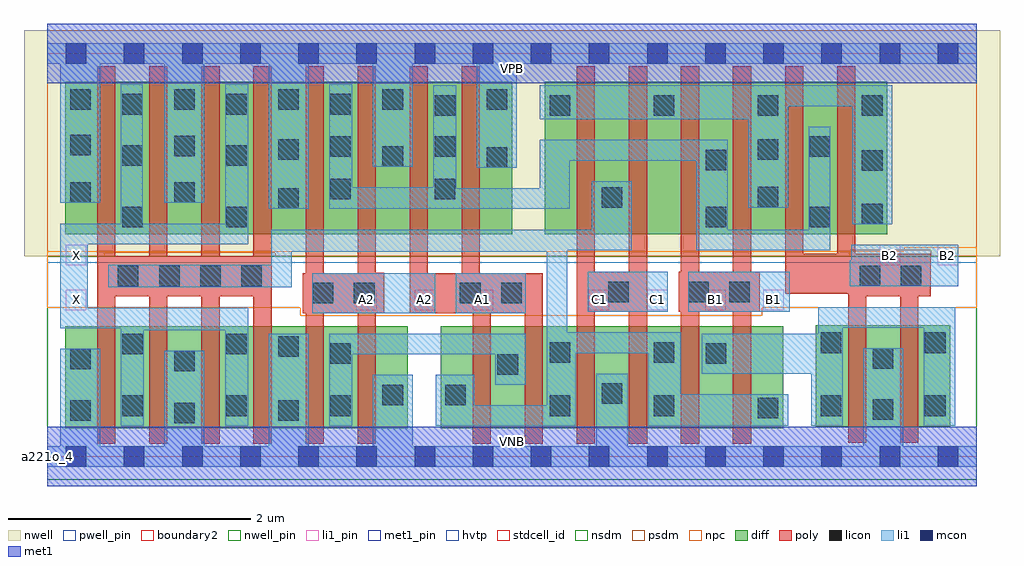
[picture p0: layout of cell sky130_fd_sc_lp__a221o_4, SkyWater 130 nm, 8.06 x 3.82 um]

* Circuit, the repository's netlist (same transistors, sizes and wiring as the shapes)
* Copyright 2020 The SkyWater PDK Authors
*
* Licensed under the Apache License, Version 2.0 (the "License");
* you may not use this file except in compliance with the License.
* You may obtain a copy of the License at
*
*     https://www.apache.org/licenses/LICENSE-2.0
*
* Unless required by applicable law or agreed to in writing, software
* distributed under the License is distributed on an "AS IS" BASIS,
* WITHOUT WARRANTIES OR CONDITIONS OF ANY KIND, either express or implied.
* See the License for the specific language governing permissions and
* limitations under the License.
*
* SPDX-License-Identifier: Apache-2.0

.SUBCKT sky130_fd_sc_lp__a221o_4 A1 A2 B1 B2 C1 VGND VNB VPB VPWR X
*.PININFO A1:I A2:I B1:I B2:I C1:I VGND:I VNB:I VPB:I VPWR:I X:O
MMPA0 pndA A1 VPWR VPB sky130_fd_pr__pfet_01v8_hvt m=2 w=1.26U l=0.15U mult=1 sa=0.265
+ sb=0.265 sd=0.28 area=0.063 perim=1.14
MMPA1 pndA A2 VPWR VPB sky130_fd_pr__pfet_01v8_hvt m=2 w=1.26U l=0.15U mult=1 sa=0.265
+ sb=0.265 sd=0.28 area=0.063 perim=1.14
MMPB0 pndB B1 pndA VPB sky130_fd_pr__pfet_01v8_hvt m=2 w=1.26U l=0.15U mult=1 sa=0.265
+ sb=0.265 sd=0.28 area=0.063 perim=1.14
MMPB1 pndB B2 pndA VPB sky130_fd_pr__pfet_01v8_hvt m=2 w=1.26U l=0.15U mult=1 sa=0.265
+ sb=0.265 sd=0.28 area=0.063 perim=1.14
MMPC0 y C1 pndB VPB sky130_fd_pr__pfet_01v8_hvt m=2 w=1.26U l=0.15U mult=1 sa=0.265
+ sb=0.265 sd=0.28 area=0.063 perim=1.14
MMIPX X y VPWR VPB sky130_fd_pr__pfet_01v8_hvt m=4 w=1.26U l=0.15U mult=1 sa=0.265
+ sb=0.265 sd=0.28 area=0.063 perim=1.14
MMNA0 y A1 sndA1 VNB sky130_fd_pr__nfet_01v8 m=2 w=0.84U l=0.15U mult=1 sa=0.265
+ sb=0.265 sd=0.28 area=0.063 perim=1.14
MMNA1 sndA1 A2 VGND VNB sky130_fd_pr__nfet_01v8 m=2 w=0.84U l=0.15U mult=1 sa=0.265
+ sb=0.265 sd=0.28 area=0.063 perim=1.14
MMNB0 y B1 sndB1 VNB sky130_fd_pr__nfet_01v8 m=2 w=0.84U l=0.15U mult=1 sa=0.265
+ sb=0.265 sd=0.28 area=0.063 perim=1.14
MMNB1 sndB1 B2 VGND VNB sky130_fd_pr__nfet_01v8 m=2 w=0.84U l=0.15U mult=1 sa=0.265
+ sb=0.265 sd=0.28 area=0.063 perim=1.14
MMNC0 y C1 VGND VNB sky130_fd_pr__nfet_01v8 m=2 w=0.84U l=0.15U mult=1 sa=0.265
+ sb=0.265 sd=0.28 area=0.063 perim=1.14
MMINX X y VGND VNB sky130_fd_pr__nfet_01v8 m=4 w=0.84U l=0.15U mult=1 sa=0.265
+ sb=0.265 sd=0.28 area=0.063 perim=1.14
.ENDS sky130_fd_sc_lp__a221o_4

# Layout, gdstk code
import gdstk
lib = gdstk.Library(unit=1e-6, precision=1e-09)
def R(c, l, rs):  # rectangles x0, y0, x1, y1
    for r in rs: c.add(gdstk.rectangle(r[:2], r[2:], *l))
def A(c, l, x, y, w, h, nx, ny, dx, dy):  # array of equal rectangles
    R(c, l, [(x+i*dx, y+j*dy, x+i*dx+w, y+j*dy+h) for i in range(nx) for j in range(ny)])
def P(c, l, *ps):  # polygons
    for p in ps: c.add(gdstk.Polygon(p, *l))
nwell_pin = (64, 16)
nwell = (64, 20)
diff = (65, 20)
poly = (66, 20)
licon = (66, 44)
li1_pin = (67, 16)
li1 = (67, 20)
mcon = (67, 44)
met1_pin = (68, 16)
met1 = (68, 20)
hvtp = (78, 44)
stdcell_id = (81, 4)
nsdm = (93, 44)
psdm = (94, 20)
npc = (95, 20)
pwell_pin = (122, 16)
boundary2 = (236, 0)

sky130_fd_sc_lp__a221o_4 = lib.new_cell('sky130_fd_sc_lp__a221o_4')
R(sky130_fd_sc_lp__a221o_4, nwell_pin, [(0,3.085,7.68,3.33)])
R(sky130_fd_sc_lp__a221o_4, nwell, [(-0.19,1.655,7.87,3.52)])
R(sky130_fd_sc_lp__a221o_4, diff, [(0.15,0.235,2.98,1.075), (3.25,0.235,6.08,1.075), (6.35,0.245,7.46,1.085), (0.15,1.835,3.84,3.095), (4.11,1.835,6.94,3.095)])
P(sky130_fd_sc_lp__a221o_4, poly, [(1.855,3.225),(1.705,3.225),(1.705,1.655),(1.425,1.655),(1.425,3.225),(1.275,3.225),(1.275,1.655),(0.995,1.655),(0.995,3.225),(0.845,3.225),(0.845,1.655),(0.565,1.655),(0.565,3.225),(0.415,3.225),(0.415,0.105),(0.565,0.105),(0.565,1.325),(0.845,1.325),(0.845,0.105),(0.995,0.105),(0.995,1.325),(1.275,1.325),(1.275,0.105),(1.425,0.105),(1.425,1.325),(1.705,1.325),(1.705,0.105),(1.855,0.105)],
  [(5.885,1.525),(5.815,1.525),(5.815,3.225),(5.665,3.225),(5.665,1.525),(5.385,1.525),(5.385,3.225),(5.235,3.225),(5.235,1.525),(5.215,1.525),(5.215,1.195),(5.235,1.195),(5.235,0.105),(5.385,0.105),(5.385,1.195),(5.665,1.195),(5.665,0.105),(5.815,0.105),(5.815,1.195),(5.885,1.195)],
  [(2.785,1.52),(2.715,1.52),(2.715,3.225),(2.565,3.225),(2.565,1.515),(2.285,1.515),(2.285,3.225),(2.135,3.225),(2.135,1.515),(2.11,1.515),(2.11,1.185),(2.135,1.185),(2.135,0.105),(2.285,0.105),(2.285,1.185),(2.565,1.185),(2.565,0.105),(2.715,0.105),(2.715,1.185),(2.785,1.185)],
  [(4.095,1.515),(3.575,1.515),(3.575,3.225),(3.425,3.225),(3.425,1.515),(3.145,1.515),(3.145,3.225),(2.995,3.225),(2.995,1.185),(3.515,1.185),(3.515,0.105),(3.665,0.105),(3.665,1.185),(3.945,1.185),(3.945,0.105),(4.095,0.105)],
  [(4.955,3.225),(4.805,3.225),(4.805,1.525),(4.525,1.525),(4.525,3.225),(4.375,3.225),(4.375,0.105),(4.525,0.105),(4.525,1.195),(4.805,1.195),(4.805,0.105),(4.955,0.105)],
  [(7.3,1.675),(6.675,1.675),(6.675,3.225),(6.525,3.225),(6.525,1.675),(6.245,1.675),(6.245,3.225),(6.095,3.225),(6.095,1.345),(6.615,1.345),(6.615,0.115),(6.765,0.115),(6.765,1.325),(7.045,1.325),(7.045,0.115),(7.195,0.115),(7.195,1.325),(7.3,1.325)])
A(sky130_fd_sc_lp__a221o_4, licon, 0.62, 0.335, 0.17, 0.17, 3, 2, 0.86, 2.49)
A(sky130_fd_sc_lp__a221o_4, licon, 0.585, 1.405, 0.17, 0.17, 4, 1, 0.34, 0)
A(sky130_fd_sc_lp__a221o_4, licon, 4.15, 2.815, 0.17, 0.17, 4, 1, 0.86, 0)
A(sky130_fd_sc_lp__a221o_4, licon, 0.19, 2.865, 0.17, 0.17, 5, 1, 0.86, 0)
R(sky130_fd_sc_lp__a221o_4, licon, [(1.05,0.275,1.22,0.445), (0.19,0.295,0.36,0.465), (1.91,0.295,2.08,0.465), (6.82,0.305,6.99,0.475), (5.87,0.315,6.04,0.485), (4.15,0.335,4.32,0.505), (5.01,0.335,5.18,0.505), (6.39,0.335,6.56,0.505), (7.25,0.335,7.42,0.505), (2.77,0.425,2.94,0.595), (3.29,0.425,3.46,0.595), (4.58,0.435,4.75,0.605), (3.72,0.675,3.89,0.845), (1.05,0.705,1.22,0.875), (0.19,0.72,0.36,0.89), (6.82,0.725,6.99,0.895), (2.34,0.765,2.51,0.935), (5.44,0.765,5.61,0.935), (4.15,0.775,4.32,0.945), (5.01,0.775,5.18,0.945), (1.91,0.825,2.08,0.995), (0.62,0.845,0.79,1.015), (1.48,0.845,1.65,1.015), (6.39,0.855,6.56,1.025), (7.25,0.855,7.42,1.025), (2.195,1.265,2.365,1.435), (2.535,1.265,2.705,1.435), (3.41,1.265,3.58,1.435), (3.75,1.265,3.92,1.435), (4.635,1.275,4.805,1.445), (5.295,1.275,5.465,1.445), (5.635,1.275,5.805,1.445), (6.71,1.405,6.88,1.575), (7.05,1.405,7.22,1.575), (0.62,1.895,0.79,2.065), (1.48,1.895,1.65,2.065), (5.44,1.895,5.61,2.065), (6.3,1.895,6.47,2.065), (6.73,1.92,6.9,2.09), (1.91,2.045,2.08,2.215), (4.58,2.055,4.75,2.225), (5.87,2.06,6.04,2.23), (0.19,2.095,0.36,2.265), (1.05,2.095,1.22,2.265), (2.34,2.125,2.51,2.295), (3.2,2.125,3.37,2.295), (6.73,2.36,6.9,2.53), (5.44,2.365,5.61,2.535), (3.63,2.385,3.8,2.555), (2.77,2.395,2.94,2.565), (0.62,2.4,0.79,2.57), (1.48,2.4,1.65,2.57), (1.91,2.45,2.08,2.62), (5.87,2.45,6.04,2.62), (2.34,2.475,2.51,2.645), (3.2,2.475,3.37,2.645), (6.3,2.475,6.47,2.645), (1.05,2.48,1.22,2.65), (0.19,2.49,0.36,2.66), (3.2,2.815,3.37,2.985)])
A(sky130_fd_sc_lp__a221o_4, li1_pin, 2.555, 1.21, 0.17, 0.17, 3, 1, 0.48, 0)
A(sky130_fd_sc_lp__a221o_4, li1_pin, 4.475, 1.21, 0.17, 0.17, 4, 1, 0.48, 0)
R(sky130_fd_sc_lp__a221o_4, li1_pin, [(0.155,1.21,0.325,1.38), (0.155,1.58,0.325,1.75), (6.875,1.58,7.045,1.75), (7.355,1.58,7.525,1.75)])
R(sky130_fd_sc_lp__a221o_4, li1, [(2.19,1.185,3.205,1.515), (3.375,1.185,3.955,1.515), (4.465,1.195,5.125,1.525), (5.295,1.195,6.135,1.525)])
P(sky130_fd_sc_lp__a221o_4, li1, [(1.66,3.075),(1.47,3.075),(1.47,1.925),(0.79,1.925),(0.79,3.075),(0.61,3.075),(0.61,1.925),(0.11,1.925),(0.11,1.06),(0.61,1.06),(0.61,0.255),(0.8,0.255),(0.8,1.045),(1.47,1.045),(1.47,0.255),(1.66,0.255),(1.66,1.23),(0.335,1.23),(0.335,1.755),(1.66,1.755)],
  [(3.955,1.015),(2.33,1.015),(2.33,0.255),(2.52,0.255),(2.52,0.845),(3.7,0.845),(3.7,0.595),(3.955,0.595)],
  [(7.68,0.085),(7.07,0.085),(7.07,0.895),(6.74,0.895),(6.74,0.085),(4.795,0.085),(4.795,0.685),(4.535,0.685),(4.535,0.085),(3.02,0.085),(3.02,0.675),(2.69,0.675),(2.69,0.085),(2.16,0.085),(2.16,1.015),(1.83,1.015),(1.83,0.085),(1.3,0.085),(1.3,0.875),(0.97,0.875),(0.97,0.085),(0.44,0.085),(0.44,0.89),(0.11,0.89),(0.11,0.085),(0,0.085),(0,-0.085),(7.68,-0.085)],
  [(6.47,2.725),(6.29,2.725),(6.29,1.875),(5.62,1.875),(5.62,2.615),(4.07,2.615),(4.07,2.215),(3.38,2.215),(3.38,3.065),(3.19,3.065),(3.19,2.225),(2.52,2.225),(2.52,3.075),(2.33,3.075),(2.33,2.045),(4.315,2.045),(4.315,2.445),(5.36,2.445),(5.36,1.705),(6.47,1.705)],
  [(6.98,3.065),(4.07,3.065),(4.07,2.785),(5.79,2.785),(5.79,2.055),(6.12,2.055),(6.12,2.895),(6.65,2.895),(6.65,1.92),(6.98,1.92)],
  [(7.5,1.235),(6.37,1.235),(6.37,1.015),(5.405,1.015),(5.405,0.685),(6.31,0.685),(6.31,0.255),(6.57,0.255),(6.57,1.065),(7.24,1.065),(7.24,0.255),(7.5,0.255)],
  [(7.525,1.75),(6.64,1.75),(6.64,1.62),(6.63,1.62),(6.63,1.405),(7.525,1.405)],
  [(7.68,3.415),(0,3.415),(0,3.245),(0.11,3.245),(0.11,2.095),(0.44,2.095),(0.44,3.245),(0.97,3.245),(0.97,2.095),(1.3,2.095),(1.3,3.245),(1.83,3.245),(1.83,2.045),(2.16,2.045),(2.16,3.245),(2.69,3.245),(2.69,2.395),(3.02,2.395),(3.02,3.245),(3.55,3.245),(3.55,2.385),(3.88,2.385),(3.88,3.245),(7.68,3.245)],
  [(6.12,0.515),(5.235,0.515),(5.235,1.025),(4.295,1.025),(4.295,1.705),(4.83,1.705),(4.83,2.275),(4.5,2.275),(4.5,1.875),(1.85,1.875),(1.85,1.585),(0.505,1.585),(0.505,1.4),(2.02,1.4),(2.02,1.69),(4.125,1.69),(4.125,0.425),(3.53,0.425),(3.53,0.675),(3.21,0.675),(3.21,0.255),(4.365,0.255),(4.365,0.855),(4.965,0.855),(4.965,0.255),(6.12,0.255)])
A(sky130_fd_sc_lp__a221o_4, mcon, 0.155, -0.085, 0.17, 0.17, 16, 2, 0.48, 3.33)
R(sky130_fd_sc_lp__a221o_4, met1_pin, [(0,0,7.68,0.245), (0,3.085,7.68,3.33)])
R(sky130_fd_sc_lp__a221o_4, met1, [(0,-0.245,7.68,0.245), (0,3.085,7.68,3.575)])
R(sky130_fd_sc_lp__a221o_4, hvtp, [(0,1.6,7.68,3.33)])
R(sky130_fd_sc_lp__a221o_4, stdcell_id, [(0,0,7.68,3.33)])
R(sky130_fd_sc_lp__a221o_4, nsdm, [(0,-0.19,7.68,1.655)])
P(sky130_fd_sc_lp__a221o_4, psdm, [(7.68,3.52),(0,3.52),(0,1.655),(0.475,1.655),(0.475,1.685),(1.885,1.685),(1.885,1.655),(6.63,1.655),(6.63,1.705),(7.3,1.705),(7.3,1.655),(7.68,1.655)])
P(sky130_fd_sc_lp__a221o_4, npc, [(7.68,1.73),(7.08,1.73),(7.08,1.695),(0,1.695),(0,1.23),(2.09,1.23),(2.09,1.165),(5.905,1.165),(5.905,1.23),(7.68,1.23)])
R(sky130_fd_sc_lp__a221o_4, pwell_pin, [(0,0,7.68,0.245)])
R(sky130_fd_sc_lp__a221o_4, boundary2, [(0,0,7.68,3.33)])
sky130_fd_sc_lp__a221o_4.add(gdstk.Label('VNB', (3.84,0.123), layer=64, texttype=59))
sky130_fd_sc_lp__a221o_4.add(gdstk.Label('VPB', (3.84,3.208), layer=64, texttype=5))
sky130_fd_sc_lp__a221o_4.add(gdstk.Label('a221o_4', (0,0), layer=83, texttype=44))
sky130_fd_sc_lp__a221o_4.add(gdstk.Label('VPWR', (3.84,3.208), layer=68, texttype=5))
sky130_fd_sc_lp__a221o_4.add(gdstk.Label('VGND', (3.84,0.123), layer=68, texttype=5))
sky130_fd_sc_lp__a221o_4.add(gdstk.Label('A1', (3.6,1.295), layer=67, texttype=5))
sky130_fd_sc_lp__a221o_4.add(gdstk.Label('A2', (2.64,1.295), layer=67, texttype=5))
sky130_fd_sc_lp__a221o_4.add(gdstk.Label('A2', (3.12,1.295), layer=67, texttype=5))
sky130_fd_sc_lp__a221o_4.add(gdstk.Label('B1', (5.52,1.295), layer=67, texttype=5))
sky130_fd_sc_lp__a221o_4.add(gdstk.Label('B1', (6,1.295), layer=67, texttype=5))
sky130_fd_sc_lp__a221o_4.add(gdstk.Label('B2', (6.96,1.665), layer=67, texttype=5))
sky130_fd_sc_lp__a221o_4.add(gdstk.Label('B2', (7.44,1.665), layer=67, texttype=5))
sky130_fd_sc_lp__a221o_4.add(gdstk.Label('C1', (4.56,1.295), layer=67, texttype=5))
sky130_fd_sc_lp__a221o_4.add(gdstk.Label('C1', (5.04,1.295), layer=67, texttype=5))
sky130_fd_sc_lp__a221o_4.add(gdstk.Label('X', (0.24,1.295), layer=67, texttype=5))
sky130_fd_sc_lp__a221o_4.add(gdstk.Label('X', (0.24,1.665), layer=67, texttype=5))

lib.write_gds('sky130_fd_sc_lp__a221o_4.gds')
